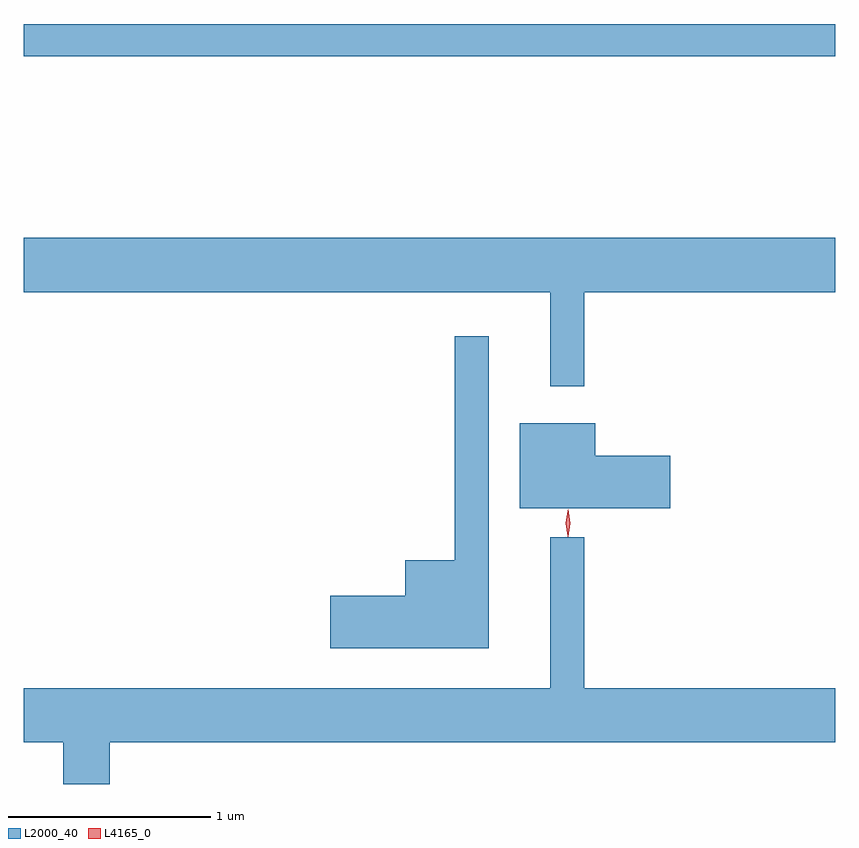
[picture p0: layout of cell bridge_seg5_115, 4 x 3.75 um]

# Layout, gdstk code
import gdstk
lib = gdstk.Library(unit=1e-6, precision=1e-09)
def R(c, l, rs):  # rectangles x0, y0, x1, y1
    for r in rs: c.add(gdstk.rectangle(r[:2], r[2:], *l))
def P(c, l, *ps):  # polygons
    for p in ps: c.add(gdstk.Polygon(p, *l))
L2000_40 = (2000, 40)
L4165_0 = (4165, 0)

bridge_seg5_115 = lib.new_cell('bridge_seg5_115')
R(bridge_seg5_115, L2000_40, [(1222.776,1504.581,1226.776,1504.739)])
P(bridge_seg5_115, L2000_40, [(1225.539,1503.416),(1226.776,1503.416),(1226.776,1503.684),(1222.776,1503.684),(1222.776,1503.416),(1225.371,1503.416),(1225.371,1502.953),(1225.539,1502.953)],
  [(1225.069,1503.198),(1224.901,1503.198),(1224.901,1502.094),(1224.656,1502.094),(1224.656,1501.919),(1224.286,1501.919),(1224.286,1501.661),(1225.069,1501.661)],
  [(1225.964,1502.609),(1225.594,1502.609),(1225.594,1502.769),(1225.221,1502.769),(1225.221,1502.351),(1225.964,1502.351)],
  [(1223.199,1501.196),(1226.776,1501.196),(1226.776,1501.464),(1225.539,1501.464),(1225.539,1502.208),(1225.371,1502.208),(1225.371,1501.464),(1222.776,1501.464),(1222.776,1501.196),(1222.971,1501.196),(1222.971,1500.991),(1223.199,1500.991)])
P(bridge_seg5_115, L4165_0, [(1225.457,1502.213),(1225.457,1502.214),(1225.447,1502.276),(1225.457,1502.339),(1225.457,1502.34),(1225.458,1502.339),(1225.467,1502.276),(1225.458,1502.214)],
  [(1225.459,1502.21),(1225.459,1502.21),(1225.45,1502.278),(1225.46,1502.346),(1225.461,1502.346),(1225.461,1502.346),(1225.47,1502.278),(1225.46,1502.21)])

lib.write_gds('bridge_seg5_115.gds')
